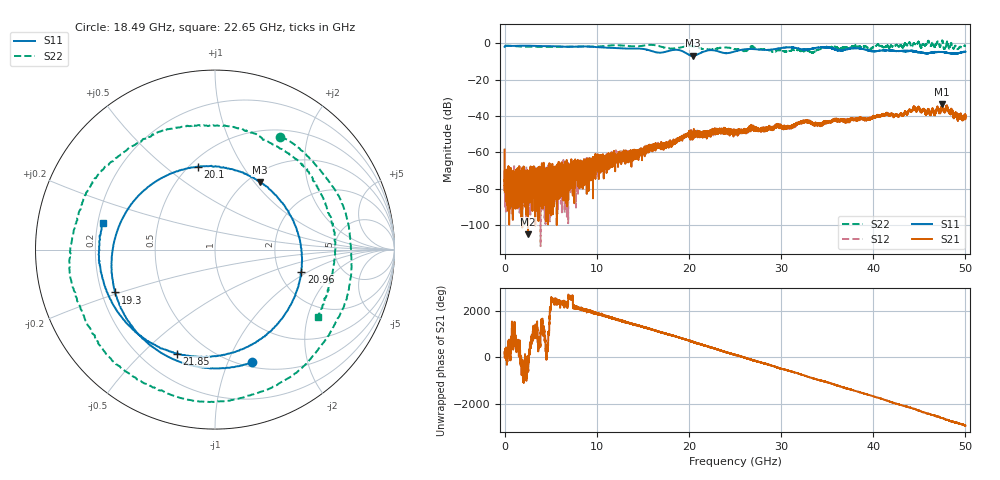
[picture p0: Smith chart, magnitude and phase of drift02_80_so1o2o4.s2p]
!Created with skrf (http://scikit-rf.org).
# Hz S RI R 50.0
!freq ReS11 ImS11 ReS21 ImS21 ReS12 ImS12 ReS22 ImS22
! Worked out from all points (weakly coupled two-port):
!   10001 points, 300 kHz to 50 GHz, reference 50 ohm
!   highest |S21| = -33.59 dB at 47.5 GHz (marker M1); lowest = -105.0 dB at 2.545 GHz (marker M2)
!   lowest |S11| = -6.9 dB at 20.43 GHz (marker M3), VSWR 2.64, Z = 56.8 + j53.4 ohm
!   |S11| at or under -10 dB: nowhere
!   |S22| runs from -5.3 to 1.5 dB; largest |S21 - S12| = 0.0028
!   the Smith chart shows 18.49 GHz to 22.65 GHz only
!   S11 on the Smith chart (normalised r, x): 18.49 GHz: 0.55, -1.23; 19.3 GHz: 0.26, -0.19; 20.1 GHz: 0.55, +0.66; 20.96 GHz: 2.65, -0.87; 21.85 GHz: 0.34, -0.64; 22.65 GHz: 0.22, +0.11
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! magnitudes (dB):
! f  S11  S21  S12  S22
! 300 kHz  -2.0  -58.5  -72.2  -1.3
! 255.3 MHz  -1.4  -89.0  -78.6  -1.4
! 2.545 GHz  -1.4  -105.0  -72.4  -1.9
! 4.455 GHz  -1.6  -75.7  -83.1  -2.0
! 8.335 GHz  -1.7  -71.6  -67.0  -1.9
! 16.67 GHz  -5.2  -56.6  -57.4  -1.4
! 18.49 GHz  -3.6  -53.5  -54.3  -2.8
! 19.3 GHz  -4.4  -52.2  -51.5  -2.1
! 20.1 GHz  -6.5  -50.3  -49.9  -1.5
! 20.43 GHz  -6.9  -49.6  -49.5  -1.8
! 20.96 GHz  -6.1  -51.7  -49.2  -2.2
! 21.85 GHz  -4.2  -49.9  -49.9  -3.4
! 22.65 GHz  -3.9  -48.6  -49.8  -3.3
! 25 GHz  -4.5  -49.6  -49.7  -3.2
! 26.11 GHz  -3.3  -48.6  -47.8  -4.2
! 26.9 GHz  -3.2  -45.5  -45.4  -1.6
! 28.25 GHz  -3.7  -47.3  -47.6  -3.5
! 33.34 GHz  -3.0  -43.9  -43.6  -5.1
! 34.9 GHz  -2.3  -43.3  -43.2  -2.1
! 41.67 GHz  -3.9  -39.0  -39.4  -2.2
! 47.5 GHz  -4.8  -33.6  -34.2  1.1
! 50 GHz  -4.7  -40.8  -40.7  -1.5
